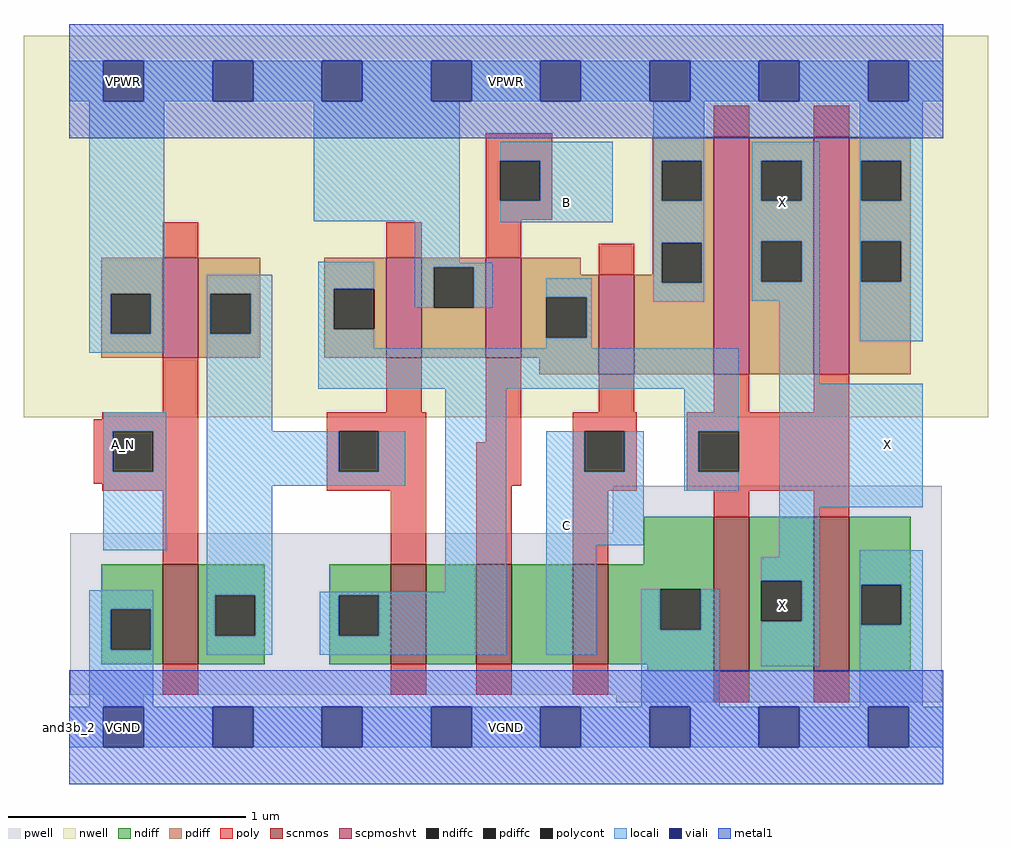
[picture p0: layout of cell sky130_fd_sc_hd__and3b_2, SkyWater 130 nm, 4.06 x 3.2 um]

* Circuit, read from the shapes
.subckt sky130_fd_sc_hd__and3b_2 A_N B C VGND VNB VPB VPWR X
XM1 n1 A_N VGND VNB sky130_fd_pr__nfet_01v8 w=0.42 l=0.15
XM2 n2 n1 n3 VNB sky130_fd_pr__nfet_01v8 w=0.42 l=0.15
XM3 n4 B n2 VNB sky130_fd_pr__nfet_01v8 w=0.42 l=0.15
XM4 VGND C n4 VNB sky130_fd_pr__nfet_01v8 w=0.42 l=0.15
XM5 X n3 VGND VNB sky130_fd_pr__nfet_01v8 w=0.65 l=0.15 m=2
XM6 n1 A_N VPWR VPB sky130_fd_pr__pfet_01v8_hvt w=0.42 l=0.15
XM7 VPWR n1 n3 VPB sky130_fd_pr__pfet_01v8_hvt w=0.42 l=0.15
XM8 n3 B VPWR VPB sky130_fd_pr__pfet_01v8_hvt w=0.42 l=0.15
XM9 VPWR C n3 VPB sky130_fd_pr__pfet_01v8_hvt w=0.42 l=0.15
XM10 X n3 VPWR VPB sky130_fd_pr__pfet_01v8_hvt w=1 l=0.15 m=2
.ends

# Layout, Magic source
magic
tech sky130B
magscale 1 2
<< nwell >>
rect -38 261 774 582
<< pwell >>
rect 458 163 735 203
rect 1 27 735 163
rect 29 -17 63 27
rect 461 21 735 27
<< scnmos >>
rect 79 53 109 137
rect 271 53 301 137
rect 343 53 373 137
rect 424 53 454 137
rect 543 47 573 177
rect 627 47 657 177
<< scpmoshvt >>
rect 79 311 109 395
rect 267 311 297 395
rect 351 311 381 395
rect 446 297 476 381
rect 543 297 573 497
rect 627 297 657 497
<< ndiff >>
rect 484 137 543 177
rect 27 99 79 137
rect 27 65 35 99
rect 69 65 79 99
rect 27 53 79 65
rect 109 111 165 137
rect 109 77 123 111
rect 157 77 165 111
rect 109 53 165 77
rect 219 111 271 137
rect 219 77 227 111
rect 261 77 271 111
rect 219 53 271 77
rect 301 53 343 137
rect 373 53 424 137
rect 454 116 543 137
rect 454 82 498 116
rect 532 82 543 116
rect 454 53 543 82
rect 487 47 543 53
rect 573 123 627 177
rect 573 89 583 123
rect 617 89 627 123
rect 573 47 627 89
rect 657 120 709 177
rect 657 86 667 120
rect 701 86 709 120
rect 657 47 709 86
<< pdiff >>
rect 491 477 543 497
rect 491 443 499 477
rect 533 443 543 477
rect 491 408 543 443
rect 27 365 79 395
rect 27 331 35 365
rect 69 331 79 365
rect 27 311 79 331
rect 109 365 161 395
rect 109 331 119 365
rect 153 331 161 365
rect 109 311 161 331
rect 215 369 267 395
rect 215 335 223 369
rect 257 335 267 369
rect 215 311 267 335
rect 297 387 351 395
rect 297 353 307 387
rect 341 353 351 387
rect 297 311 351 353
rect 381 381 431 395
rect 491 381 499 408
rect 381 362 446 381
rect 381 328 402 362
rect 436 328 446 362
rect 381 311 446 328
rect 396 297 446 311
rect 476 374 499 381
rect 533 374 543 408
rect 476 297 543 374
rect 573 477 627 497
rect 573 443 583 477
rect 617 443 627 477
rect 573 409 627 443
rect 573 375 583 409
rect 617 375 627 409
rect 573 297 627 375
rect 657 477 709 497
rect 657 443 667 477
rect 701 443 709 477
rect 657 409 709 443
rect 657 375 667 409
rect 701 375 709 409
rect 657 297 709 375
<< ndiffc >>
rect 35 65 69 99
rect 123 77 157 111
rect 227 77 261 111
rect 498 82 532 116
rect 583 89 617 123
rect 667 86 701 120
<< pdiffc >>
rect 499 443 533 477
rect 35 331 69 365
rect 119 331 153 365
rect 223 335 257 369
rect 307 353 341 387
rect 402 328 436 362
rect 499 374 533 408
rect 583 443 617 477
rect 583 375 617 409
rect 667 443 701 477
rect 667 375 701 409
<< poly >>
rect 351 477 407 500
rect 543 497 573 523
rect 627 497 657 523
rect 351 443 363 477
rect 397 443 407 477
rect 351 427 407 443
rect 79 395 109 425
rect 267 395 297 425
rect 351 395 381 427
rect 446 381 476 407
rect 79 265 109 311
rect 267 265 297 311
rect 28 259 109 265
rect 21 249 109 259
rect 21 215 37 249
rect 71 215 109 249
rect 21 205 109 215
rect 28 199 109 205
rect 217 249 301 265
rect 217 215 227 249
rect 261 215 301 249
rect 351 240 381 311
rect 446 265 476 297
rect 543 265 573 297
rect 627 265 657 297
rect 217 199 301 215
rect 79 137 109 199
rect 271 137 301 199
rect 343 203 381 240
rect 424 249 478 265
rect 424 215 434 249
rect 468 215 478 249
rect 343 137 373 203
rect 424 199 478 215
rect 520 249 657 265
rect 520 215 530 249
rect 564 215 657 249
rect 520 199 657 215
rect 424 137 454 199
rect 543 177 573 199
rect 627 177 657 199
rect 79 27 109 53
rect 271 27 301 53
rect 343 27 373 53
rect 424 27 454 53
rect 543 21 573 47
rect 627 21 657 47
<< polycont >>
rect 363 443 397 477
rect 37 215 71 249
rect 227 215 261 249
rect 434 215 468 249
rect 530 215 564 249
<< locali >>
rect 0 527 29 561
rect 63 527 121 561
rect 155 527 213 561
rect 247 527 305 561
rect 339 527 397 561
rect 431 527 489 561
rect 523 527 581 561
rect 615 527 673 561
rect 707 527 736 561
rect 17 365 80 527
rect 206 426 329 527
rect 17 331 35 365
rect 69 331 80 365
rect 17 315 80 331
rect 116 365 171 381
rect 116 331 119 365
rect 153 331 171 365
rect 29 249 82 265
rect 29 215 37 249
rect 71 215 82 249
rect 29 149 82 215
rect 116 249 171 331
rect 210 369 257 392
rect 210 335 223 369
rect 291 391 329 426
rect 363 477 458 493
rect 397 443 458 477
rect 363 425 458 443
rect 492 477 535 527
rect 492 443 499 477
rect 533 443 535 477
rect 492 408 535 443
rect 291 387 357 391
rect 291 353 307 387
rect 341 353 357 387
rect 402 362 440 378
rect 210 319 257 335
rect 436 328 440 362
rect 492 374 499 408
rect 533 374 535 408
rect 492 358 535 374
rect 575 477 632 493
rect 575 443 583 477
rect 617 443 632 477
rect 575 409 632 443
rect 575 375 583 409
rect 617 375 632 409
rect 575 359 632 375
rect 402 319 440 328
rect 210 285 564 319
rect 116 215 227 249
rect 261 215 283 249
rect 116 203 283 215
rect 17 99 71 115
rect 17 65 35 99
rect 69 65 71 99
rect 17 17 71 65
rect 116 111 171 203
rect 317 114 368 285
rect 518 249 564 285
rect 116 77 123 111
rect 157 77 171 111
rect 116 61 171 77
rect 211 111 368 114
rect 211 77 227 111
rect 261 77 368 111
rect 211 61 368 77
rect 402 215 434 249
rect 468 215 484 249
rect 402 153 484 215
rect 518 215 530 249
rect 518 199 564 215
rect 598 289 632 359
rect 666 477 719 527
rect 666 443 667 477
rect 701 443 719 477
rect 666 409 719 443
rect 666 375 667 409
rect 701 375 719 409
rect 666 325 719 375
rect 598 185 719 289
rect 402 61 444 153
rect 598 143 632 185
rect 583 123 632 143
rect 482 82 498 116
rect 532 82 548 116
rect 482 17 548 82
rect 617 89 632 123
rect 583 51 632 89
rect 666 120 719 149
rect 666 86 667 120
rect 701 86 719 120
rect 666 17 719 86
rect 0 -17 29 17
rect 63 -17 121 17
rect 155 -17 213 17
rect 247 -17 305 17
rect 339 -17 397 17
rect 431 -17 489 17
rect 523 -17 581 17
rect 615 -17 673 17
rect 707 -17 736 17
<< viali >>
rect 29 527 63 561
rect 121 527 155 561
rect 213 527 247 561
rect 305 527 339 561
rect 397 527 431 561
rect 489 527 523 561
rect 581 527 615 561
rect 673 527 707 561
rect 29 -17 63 17
rect 121 -17 155 17
rect 213 -17 247 17
rect 305 -17 339 17
rect 397 -17 431 17
rect 489 -17 523 17
rect 581 -17 615 17
rect 673 -17 707 17
<< metal1 >>
rect 0 561 736 592
rect 0 527 29 561
rect 63 527 121 561
rect 155 527 213 561
rect 247 527 305 561
rect 339 527 397 561
rect 431 527 489 561
rect 523 527 581 561
rect 615 527 673 561
rect 707 527 736 561
rect 0 496 736 527
rect 0 17 736 48
rect 0 -17 29 17
rect 63 -17 121 17
rect 155 -17 213 17
rect 247 -17 305 17
rect 339 -17 397 17
rect 431 -17 489 17
rect 523 -17 581 17
rect 615 -17 673 17
rect 707 -17 736 17
rect 0 -48 736 -17
<< labels >>
flabel metal1 s 29 -17 63 17 0 FreeSans 200 0 0 0 VGND
port 4 nsew ground bidirectional abutment
flabel metal1 s 29 527 63 561 0 FreeSans 200 0 0 0 VPWR
port 7 nsew power bidirectional abutment
flabel locali s 402 425 436 459 0 FreeSans 400 0 0 0 B
port 2 nsew signal input
flabel locali s 584 85 618 119 0 FreeSans 200 0 0 0 X
port 8 nsew signal output
flabel locali s 584 425 618 459 0 FreeSans 200 0 0 0 X
port 8 nsew signal output
flabel locali s 29 221 63 255 0 FreeSans 400 0 0 0 A_N
port 1 nsew signal input
flabel locali s 402 153 436 187 0 FreeSans 400 0 0 0 C
port 3 nsew signal input
flabel locali s 672 221 706 255 0 FreeSans 200 0 0 0 X
port 8 nsew signal output
flabel pwell s 29 -17 63 17 0 FreeSans 200 0 0 0 VNB
port 5 nsew ground bidirectional
flabel nwell s 29 527 63 561 0 FreeSans 200 0 0 0 VPB
port 6 nsew power bidirectional
rlabel comment s 0 0 0 0 4 and3b_2
rlabel metal1 s 0 -48 736 48 1 VGND
port 4 nsew ground bidirectional abutment
rlabel metal1 s 0 496 736 592 1 VPWR
port 7 nsew power bidirectional abutment
<< properties >>
string FIXED_BBOX 0 0 736 544
string GDS_END 3865488
string GDS_FILE $PDKPATH/libs.ref/sky130_fd_sc_hd/gds/sky130_fd_sc_hd.gds
string GDS_START 3858940
string LEFclass CORE
string LEFsite unithd
string LEFsymmetry X Y R90
<< end >>
